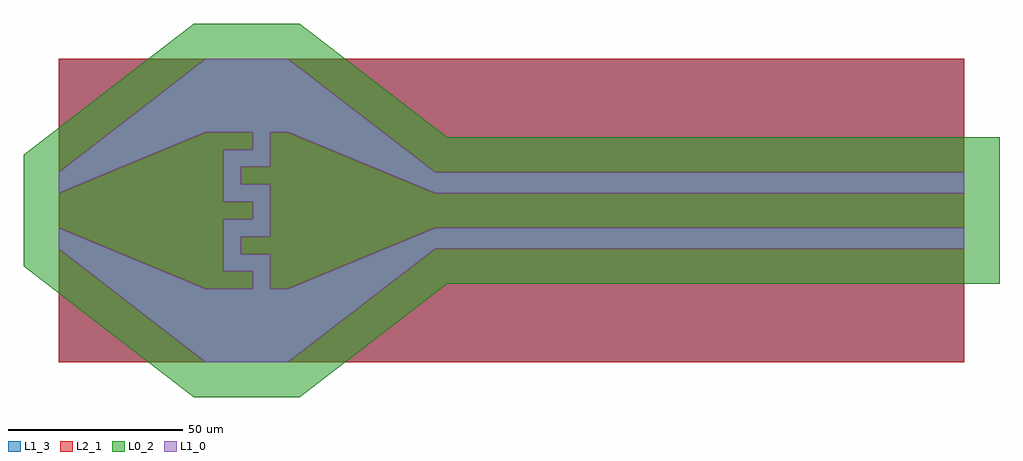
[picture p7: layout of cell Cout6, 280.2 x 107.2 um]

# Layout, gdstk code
import gdstk
lib = gdstk.Library(unit=1e-6, precision=1e-09)
def R(c, l, rs):  # rectangles x0, y0, x1, y1
    for r in rs: c.add(gdstk.rectangle(r[:2], r[2:], *l))
def P(c, l, *ps):  # polygons
    for p in ps: c.add(gdstk.Polygon(p, *l))
L0_2 = (0, 2)
L1_0 = (1, 0)
L1_3 = (1, 3)
L2_1 = (2, 1)

cout6 = lib.new_cell('Cout6')
P(cout6, L0_2, [(-91.198,-53.6),(-140.1,-15.972),(-140.1,15.972),(-91.198,53.6),(-60.736,53.6),(-18.498,21.1),(140.1,21.1),(140.1,-21.1),(-18.498,-21.1),(-60.736,-53.6)])
P(cout6, L1_0, [(-87.762,-43.5),(-130,-11),(-130,-5),(-87.717,-22.5),(-74.217,-22.5),(-74.217,-17.5),(-82.717,-17.5),(-82.717,-2.5),(-74.217,-2.5),(-74.217,2.5),(-82.717,2.5),(-82.717,17.5),(-74.217,17.5),(-74.217,22.5),(-87.717,22.5),(-130,5),(-130,11),(-87.762,43.5),(-64.172,43.5),(-21.934,11),(130,11),(130,5),(-21.934,5),(-64.217,22.5),(-69.217,22.5),(-69.217,12.5),(-77.717,12.5),(-77.717,7.5),(-69.217,7.5),(-69.217,-7.5),(-77.717,-7.5),(-77.717,-12.5),(-69.217,-12.5),(-69.217,-22.5),(-64.217,-22.5),(-21.934,-5),(130,-5),(130,-11),(-21.934,-11),(-64.172,-43.5)])
R(cout6, L1_3, [(-130,-43.5,130,43.5)])
P(cout6, L2_1, [(-130,11),(-130,43.5),(-87.762,43.5)],
  [(-130,-43.5),(-130,-11),(-87.762,-43.5)],
  [(-87.717,-22.5),(-130,-5),(-130,5),(-87.717,22.5),(-74.217,22.5),(-74.217,17.5),(-82.717,17.5),(-82.717,2.5),(-74.217,2.5),(-74.217,-2.5),(-82.717,-2.5),(-82.717,-17.5),(-74.217,-17.5),(-74.217,-22.5)],
  [(-69.217,-22.5),(-69.217,-12.5),(-77.717,-12.5),(-77.717,-7.5),(-69.217,-7.5),(-69.217,7.5),(-77.717,7.5),(-77.717,12.5),(-69.217,12.5),(-69.217,22.5),(-64.217,22.5),(-21.934,5),(130,5),(130,-5),(-21.934,-5),(-64.217,-22.5)],
  [(-64.172,-43.5),(-21.934,-11),(130,-11),(130,-43.5)],
  [(-21.934,11),(-64.172,43.5),(130,43.5),(130,11)])

lib.write_gds('Cout6.gds')
